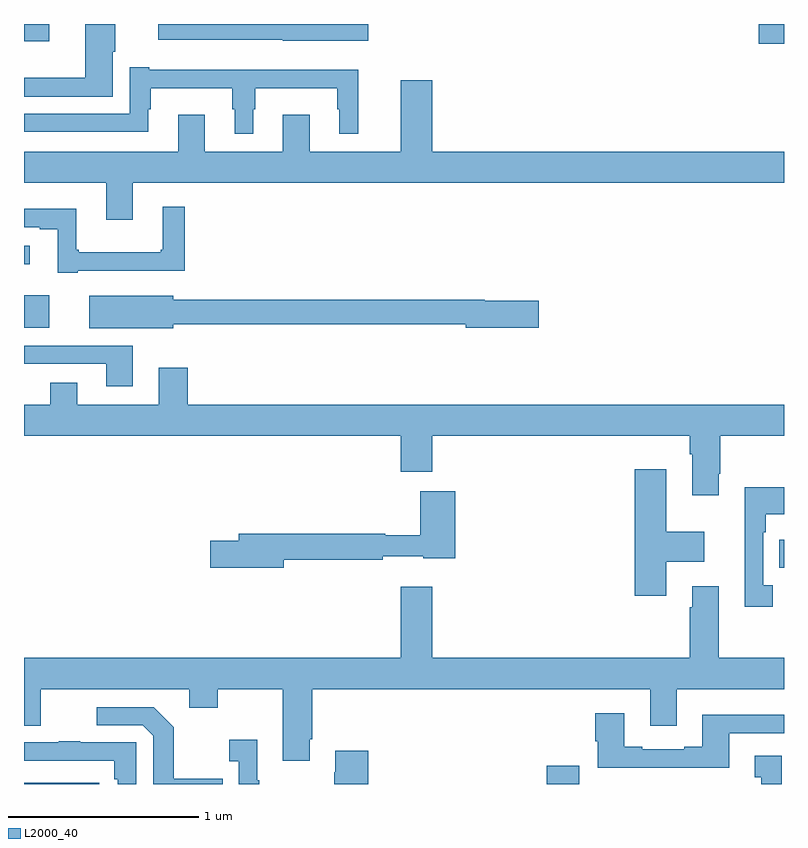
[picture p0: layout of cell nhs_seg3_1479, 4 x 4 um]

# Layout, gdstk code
import gdstk
lib = gdstk.Library(unit=1e-6, precision=1e-09)
def R(c, l, rs):  # rectangles x0, y0, x1, y1
    for r in rs: c.add(gdstk.rectangle(r[:2], r[2:], *l))
def P(c, l, *ps):  # polygons
    for p in ps: c.add(gdstk.Polygon(p, *l))
L2000_40 = (2000, 40)

nhs_seg3_1479 = lib.new_cell('nhs_seg3_1479')
R(nhs_seg3_1479, L2000_40, [(187,716.4,187.396,716.406), (189.752,716.4,189.922,716.497), (190.975,717.538,191,717.685), (187,718.802,187.132,718.972), (187,719.136,187.03,719.232), (190.866,720.296,191,720.4), (187,720.308,187.132,720.4)])
P(nhs_seg3_1479, L2000_40, [(187.468,720.255),(187.48,720.255),(187.48,720.4),(187.322,720.4),(187.322,720.116),(187,720.116),(187,720.018),(187.468,720.018)],
  [(188.813,720.4),(187.707,720.4),(187.707,720.317),(188.361,720.317),(188.361,720.311),(188.813,720.311)],
  [(188.206,719.951),(188.218,719.951),(188.218,720.062),(188.649,720.062),(188.649,719.951),(188.66,719.951),(188.66,719.823),(188.76,719.823),(188.76,720.16),(187.66,720.16),(187.66,720.172),(187.557,720.172),(187.557,719.928),(187,719.928),(187,719.832),(187.654,719.832),(187.654,719.951),(187.666,719.951),(187.666,720.062),(188.097,720.062),(188.097,719.951),(188.108,719.951),(188.108,719.823),(188.206,719.823)],
  [(187.573,719.564),(191,719.564),(191,719.728),(189.148,719.728),(189.148,720.103),(188.984,720.103),(188.984,719.728),(188.503,719.728),(188.503,719.923),(188.363,719.923),(188.363,719.728),(187.951,719.728),(187.951,719.923),(187.811,719.923),(187.811,719.728),(187,719.728),(187,719.564),(187.433,719.564),(187.433,719.37),(187.573,719.37)],
  [(187.282,719.102),(187.847,719.102),(187.847,719.437),(187.73,719.437),(187.73,719.212),(187.719,719.212),(187.719,719.2),(187.288,719.2),(187.288,719.212),(187.276,719.212),(187.276,719.428),(187,719.428),(187,719.331),(187.082,719.331),(187.082,719.319),(187.178,719.319),(187.178,719.091),(187.282,719.091)],
  [(187.786,718.821),(189.324,718.821),(189.324,718.801),(189.709,718.801),(189.709,718.943),(189.424,718.943),(189.424,718.949),(187.786,718.949),(187.786,718.969),(187.343,718.969),(187.343,718.799),(187.786,718.799)],
  [(187.573,718.707),(187,718.707),(187,718.611),(187.433,718.611),(187.433,718.494),(187.573,718.494)],
  [(190.657,718.033),(190.665,718.033),(190.665,718.232),(191,718.232),(191,718.396),(187.862,718.396),(187.862,718.591),(187.709,718.591),(187.709,718.396),(187.279,718.396),(187.279,718.513),(187.139,718.513),(187.139,718.396),(187,718.396),(187,718.232),(188.984,718.232),(188.984,718.044),(189.148,718.044),(189.148,718.232),(190.505,718.232),(190.505,718.136),(190.517,718.136),(190.517,717.921),(190.657,717.921)],
  [(190.381,717.569),(190.579,717.569),(190.579,717.727),(190.381,717.727),(190.381,718.057),(190.214,718.057),(190.214,717.39),(190.381,717.39)],
  [(190.942,717.446),(190.89,717.446),(190.89,717.725),(190.903,717.725),(190.903,717.821),(191,717.821),(191,717.961),(190.793,717.961),(190.793,717.333),(190.942,717.333)],
  [(188.368,717.58),(188.888,717.58),(188.888,717.599),(189.102,717.599),(189.102,717.587),(189.269,717.587),(189.269,717.94),(189.086,717.94),(189.086,717.709),(188.902,717.709),(188.902,717.716),(188.129,717.716),(188.129,717.68),(187.98,717.68),(187.98,717.538),(188.368,717.538)],
  [(188.503,716.635),(188.516,716.635),(188.516,716.9),(190.295,716.9),(190.295,716.706),(190.435,716.706),(190.435,716.9),(191,716.9),(191,717.064),(190.657,717.064),(190.657,717.442),(190.517,717.442),(190.517,717.329),(190.505,717.329),(190.505,717.064),(189.148,717.064),(189.148,717.439),(188.984,717.439),(188.984,717.064),(187,717.064),(187,716.706),(187.087,716.706),(187.087,716.9),(187.871,716.9),(187.871,716.801),(188.019,716.801),(188.019,716.9),(188.363,716.9),(188.363,716.523),(188.503,716.523)],
  [(188.045,716.427),(187.789,716.427),(187.789,716.699),(187.683,716.805),(187.383,716.805),(187.383,716.709),(187.626,716.709),(187.68,716.655),(187.68,716.4),(188.045,716.4)],
  [(190.711,716.667),(191,716.667),(191,716.764),(190.571,716.764),(190.571,716.596),(190.475,716.596),(190.475,716.583),(190.255,716.583),(190.255,716.596),(190.159,716.596),(190.159,716.773),(190.007,716.773),(190.007,716.625),(190.019,716.625),(190.019,716.486),(190.711,716.486)],
  [(188.239,716.419),(188.227,716.419),(188.227,716.632),(188.079,716.632),(188.079,716.519),(188.13,716.519),(188.13,716.4),(188.239,716.4)],
  [(187.59,716.619),(187.295,716.619),(187.295,716.624),(187.183,716.624),(187.183,716.619),(187,716.619),(187,716.523),(187.474,716.523),(187.474,716.426),(187.494,716.426),(187.494,716.4),(187.59,716.4)],
  [(188.812,716.575),(188.639,716.575),(188.639,716.462),(188.632,716.462),(188.632,716.4),(188.812,716.4)],
  [(190.987,716.548),(190.847,716.548),(190.847,716.435),(190.88,716.435),(190.88,716.4),(190.987,716.4)])

lib.write_gds('nhs_seg3_1479.gds')
